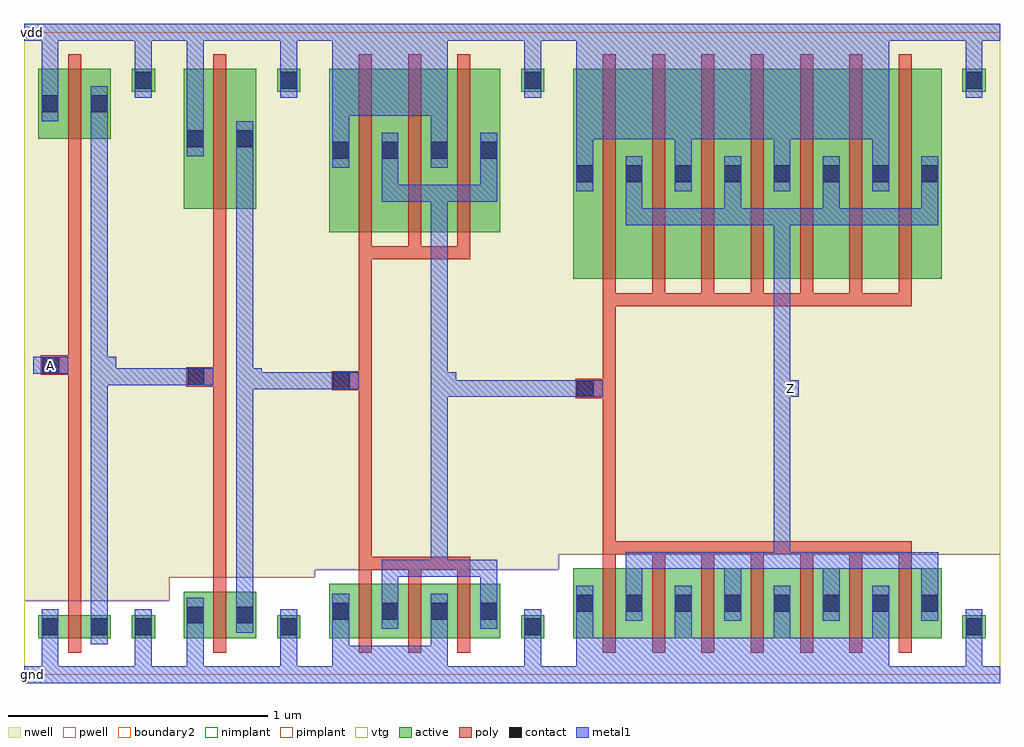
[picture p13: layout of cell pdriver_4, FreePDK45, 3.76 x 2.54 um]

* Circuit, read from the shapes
.subckt pdriver_4 A Z gnd vdd
M1 pinv_7_1/A A gnd gnd nfet w=0.09u l=0.05u
M2 pinv_16_2/A pinv_7_1/A gnd gnd nfet w=0.18u l=0.05u
M3 pinv_17_3/A pinv_16_2/A gnd gnd nfet w=0.21u l=0.05u m=3
M4 Z pinv_17_3/A gnd gnd nfet w=0.27u l=0.05u m=7
M5 pinv_7_1/A A vdd vdd pfet w=0.27u l=0.05u
M6 pinv_16_2/A pinv_7_1/A vdd vdd pfet w=0.54u l=0.05u
M7 pinv_17_3/A pinv_16_2/A vdd vdd pfet w=0.63u l=0.05u m=3
M8 Z pinv_17_3/A vdd vdd pfet w=0.81u l=0.05u m=7
.ends

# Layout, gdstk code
import gdstk
lib = gdstk.Library(unit=1e-6, precision=5e-10)
def R(c, l, rs):  # rectangles x0, y0, x1, y1
    for r in rs: c.add(gdstk.rectangle(r[:2], r[2:], *l))
def A(c, l, x, y, w, h, nx, ny, dx, dy):  # array of equal rectangles
    R(c, l, [(x+i*dx, y+j*dy, x+i*dx+w, y+j*dy+h) for i in range(nx) for j in range(ny)])
active = (1, 0)
pwell = (2, 0)
nwell = (3, 0)
nimplant = (4, 0)
pimplant = (5, 0)
vtg = (6, 0)
poly = (9, 0)
contact = (10, 0)
metal1 = (11, 0)
boundary2 = (239, 0)

contact_9 = lib.new_cell('contact_9')
R(contact_9, active, [(0,0.0225,0.09,0.1125)])
R(contact_9, nwell, [(-0.055,-0.0325,0.145,0.1675)])
R(contact_9, pimplant, [(0,0.0225,0.09,0.1125)])
R(contact_9, contact, [(0.0125,0.035,0.0775,0.1)])
R(contact_9, metal1, [(0.0125,0,0.0775,0.135)])

pmos_m1_w0_270_a_p = lib.new_cell('pmos_m1_w0_270_a_p')
R(pmos_m1_w0_270_a_p, active, [(0,0,0.28,0.27)])
R(pmos_m1_w0_270_a_p, nwell, [(-0.055,-0.055,0.335,0.325)])
R(pmos_m1_w0_270_a_p, pimplant, [(0,0,0.28,0.27)])
R(pmos_m1_w0_270_a_p, vtg, [(-0.055,-0.055,0.335,0.325)])
R(pmos_m1_w0_270_a_p, poly, [(0.115,-0.055,0.165,0.325), (0.115,-0.055,0.165,0.325)])
R(pmos_m1_w0_270_a_p, metal1, [(0.0125,0.0675,0.0775,0.2025), (0.2025,0.0675,0.2675,0.2025)])
pmos_m1_w0_270_a_p.add(gdstk.Reference(contact_9, (0,0.0675)))
pmos_m1_w0_270_a_p.add(gdstk.Reference(contact_9, (0.19,0.0675)))
pmos_m1_w0_270_a_p.add(gdstk.Label('G', (0.14,0.135), layer=9, texttype=0))
pmos_m1_w0_270_a_p.add(gdstk.Label('S', (0.045,0.135), layer=11, texttype=0))
pmos_m1_w0_270_a_p.add(gdstk.Label('D', (0.235,0.135), layer=11, texttype=0))

contact_14 = lib.new_cell('contact_14')
R(contact_14, active, [(0,0.0225,0.09,0.1125)])
R(contact_14, pwell, [(-0.055,-0.0325,0.145,0.1675)])
R(contact_14, nimplant, [(0,0.0225,0.09,0.1125)])
R(contact_14, contact, [(0.0125,0.035,0.0775,0.1)])
R(contact_14, metal1, [(0.0125,0,0.0775,0.135)])

nmos_m1_w0_090_a_p = lib.new_cell('nmos_m1_w0_090_a_p')
R(nmos_m1_w0_090_a_p, active, [(0,0,0.28,0.09)])
R(nmos_m1_w0_090_a_p, pwell, [(-0.055,-0.055,0.335,0.145)])
R(nmos_m1_w0_090_a_p, nimplant, [(0,0,0.28,0.09)])
R(nmos_m1_w0_090_a_p, vtg, [(-0.055,-0.055,0.335,0.145)])
R(nmos_m1_w0_090_a_p, poly, [(0.115,-0.055,0.165,0.145), (0.115,-0.055,0.165,0.145)])
R(nmos_m1_w0_090_a_p, metal1, [(0.0125,-0.0225,0.0775,0.1125), (0.2025,-0.0225,0.2675,0.1125)])
nmos_m1_w0_090_a_p.add(gdstk.Reference(contact_14, (0,-0.0225)))
nmos_m1_w0_090_a_p.add(gdstk.Reference(contact_14, (0.19,-0.0225)))
nmos_m1_w0_090_a_p.add(gdstk.Label('G', (0.14,0.045), layer=9, texttype=0))
nmos_m1_w0_090_a_p.add(gdstk.Label('S', (0.045,0.045), layer=11, texttype=0))
nmos_m1_w0_090_a_p.add(gdstk.Label('D', (0.235,0.045), layer=11, texttype=0))

contact_18 = lib.new_cell('contact_18')
R(contact_18, active, [(0,0.0225,0.09,0.1125)])
R(contact_18, nwell, [(-0.055,-0.0325,0.145,0.1675)])
R(contact_18, nimplant, [(0,0.0225,0.09,0.1125)])
R(contact_18, contact, [(0.0125,0.035,0.0775,0.1)])
R(contact_18, metal1, [(0.0125,0,0.0775,0.135)])

contact_19 = lib.new_cell('contact_19')
R(contact_19, active, [(0,0.0225,0.09,0.1125)])
R(contact_19, pwell, [(-0.055,-0.0325,0.145,0.1675)])
R(contact_19, pimplant, [(0,0.0225,0.09,0.1125)])
R(contact_19, contact, [(0.0125,0.035,0.0775,0.1)])
R(contact_19, metal1, [(0.0125,0,0.0775,0.135)])

contact_10 = lib.new_cell('contact_10')
R(contact_10, poly, [(0.03,0,0.105,0.075)])
R(contact_10, contact, [(0.035,0.005,0.1,0.07)])
R(contact_10, metal1, [(0,0.005,0.135,0.07)])

pinv_9 = lib.new_cell('pinv_9')
R(pinv_9, pwell, [(0,-0.0325,0.56,0.285)])
R(pinv_9, nwell, [(0,0.285,0.56,2.5075)])
R(pinv_9, vtg, [(0,-0.0325,0.56,0.285), (0,0.285,0.56,2.5075)])
R(pinv_9, poly, [(0.17,0.085,0.22,2.01), (0.1025,1.155,0.17,1.23)])
R(pinv_9, metal1, [(0,-0.0325,0.56,0.0325), (0.0675,-0.0325,0.1325,0.1175), (0.4275,0,0.4925,0.185), (0.2575,0.1175,0.3225,2.2675), (0.035,1.16,0.17,1.225), (0.29,1.16,0.355,1.225), (0.0675,2.1325,0.1325,2.5075), (0.4275,2.29,0.4925,2.475), (0,2.4425,0.56,2.5075)])
R(pinv_9, boundary2, [(0,0,0.56,2.475)])
pinv_9.add(gdstk.Reference(pmos_m1_w0_270_a_p, (0.055,2.065)))
pinv_9.add(gdstk.Reference(nmos_m1_w0_090_a_p, (0.055,0.14)))
pinv_9.add(gdstk.Reference(contact_18, (0.415,2.2225)))
pinv_9.add(gdstk.Reference(contact_19, (0.415,0.1175)))
pinv_9.add(gdstk.Reference(contact_10, (0.035,1.155)))
pinv_9.add(gdstk.Label('gnd', (0.28,0), layer=11, texttype=0))
pinv_9.add(gdstk.Label('vdd', (0.28,2.475), layer=11, texttype=0))
pinv_9.add(gdstk.Label('A', (0.1025,1.1925), layer=11, texttype=0))
pinv_9.add(gdstk.Label('Z', (0.3225,1.1925), layer=11, texttype=0))

pmos_m1_w0_540_a_p = lib.new_cell('pmos_m1_w0_540_a_p')
R(pmos_m1_w0_540_a_p, active, [(0,0,0.28,0.54)])
R(pmos_m1_w0_540_a_p, nwell, [(-0.055,-0.055,0.335,0.595)])
R(pmos_m1_w0_540_a_p, pimplant, [(0,0,0.28,0.54)])
R(pmos_m1_w0_540_a_p, vtg, [(-0.055,-0.055,0.335,0.595)])
R(pmos_m1_w0_540_a_p, poly, [(0.115,-0.055,0.165,0.595), (0.115,-0.055,0.165,0.595)])
R(pmos_m1_w0_540_a_p, metal1, [(0.0125,0.2025,0.0775,0.3375), (0.2025,0.2025,0.2675,0.3375)])
pmos_m1_w0_540_a_p.add(gdstk.Reference(contact_9, (0,0.2025)))
pmos_m1_w0_540_a_p.add(gdstk.Reference(contact_9, (0.19,0.2025)))
pmos_m1_w0_540_a_p.add(gdstk.Label('G', (0.14,0.27), layer=9, texttype=0))
pmos_m1_w0_540_a_p.add(gdstk.Label('S', (0.045,0.27), layer=11, texttype=0))
pmos_m1_w0_540_a_p.add(gdstk.Label('D', (0.235,0.27), layer=11, texttype=0))

nmos_m1_w0_180_a_p = lib.new_cell('nmos_m1_w0_180_a_p')
R(nmos_m1_w0_180_a_p, active, [(0,0,0.28,0.18)])
R(nmos_m1_w0_180_a_p, pwell, [(-0.055,-0.055,0.335,0.235)])
R(nmos_m1_w0_180_a_p, nimplant, [(0,0,0.28,0.18)])
R(nmos_m1_w0_180_a_p, vtg, [(-0.055,-0.055,0.335,0.235)])
R(nmos_m1_w0_180_a_p, poly, [(0.115,-0.055,0.165,0.235), (0.115,-0.055,0.165,0.235)])
R(nmos_m1_w0_180_a_p, metal1, [(0.0125,0.0225,0.0775,0.1575), (0.2025,0.0225,0.2675,0.1575)])
nmos_m1_w0_180_a_p.add(gdstk.Reference(contact_14, (0,0.0225)))
nmos_m1_w0_180_a_p.add(gdstk.Reference(contact_14, (0.19,0.0225)))
nmos_m1_w0_180_a_p.add(gdstk.Label('G', (0.14,0.09), layer=9, texttype=0))
nmos_m1_w0_180_a_p.add(gdstk.Label('S', (0.045,0.09), layer=11, texttype=0))
nmos_m1_w0_180_a_p.add(gdstk.Label('D', (0.235,0.09), layer=11, texttype=0))

pinv_7 = lib.new_cell('pinv_7')
R(pinv_7, pwell, [(0,-0.0325,0.56,0.375)])
R(pinv_7, nwell, [(0,0.375,0.56,2.5075)])
R(pinv_7, vtg, [(0,-0.0325,0.56,0.375), (0,0.375,0.56,2.5075)])
R(pinv_7, poly, [(0.17,0.085,0.22,1.74), (0.1025,1.11,0.17,1.185)])
R(pinv_7, metal1, [(0,-0.0325,0.56,0.0325), (0.0675,-0.0325,0.1325,0.1625), (0.4275,0,0.4925,0.185), (0.2575,0.1625,0.3225,2.1325), (0.035,1.115,0.17,1.18), (0.29,1.115,0.355,1.18), (0.0675,1.9975,0.1325,2.5075), (0.4275,2.29,0.4925,2.475), (0,2.4425,0.56,2.5075)])
R(pinv_7, boundary2, [(0,0,0.56,2.475)])
pinv_7.add(gdstk.Reference(pmos_m1_w0_540_a_p, (0.055,1.795)))
pinv_7.add(gdstk.Reference(nmos_m1_w0_180_a_p, (0.055,0.14)))
pinv_7.add(gdstk.Reference(contact_18, (0.415,2.2225)))
pinv_7.add(gdstk.Reference(contact_19, (0.415,0.1175)))
pinv_7.add(gdstk.Reference(contact_10, (0.035,1.11)))
pinv_7.add(gdstk.Label('gnd', (0.28,0), layer=11, texttype=0))
pinv_7.add(gdstk.Label('vdd', (0.28,2.475), layer=11, texttype=0))
pinv_7.add(gdstk.Label('A', (0.1025,1.1475), layer=11, texttype=0))
pinv_7.add(gdstk.Label('Z', (0.3225,1.1475), layer=11, texttype=0))

pmos_m3_w0_630_a_p = lib.new_cell('pmos_m3_w0_630_a_p')
R(pmos_m3_w0_630_a_p, active, [(0,0,0.66,0.63)])
R(pmos_m3_w0_630_a_p, nwell, [(-0.055,-0.055,0.715,0.685)])
R(pmos_m3_w0_630_a_p, pimplant, [(0,0,0.66,0.63)])
R(pmos_m3_w0_630_a_p, vtg, [(-0.055,-0.055,0.715,0.685)])
A(pmos_m3_w0_630_a_p, poly, 0.115, -0.055, 0.05, 0.74, 3, 1, 0.19, 0)
R(pmos_m3_w0_630_a_p, poly, [(0.115,-0.105,0.545,-0.055)])
R(pmos_m3_w0_630_a_p, metal1, [(0.2025,0.1175,0.6475,0.1825), (0.2025,0.15,0.2675,0.315), (0.5825,0.15,0.6475,0.315), (0.0125,0.315,0.0775,0.48), (0.3925,0.315,0.4575,0.48), (0.0125,0.4475,0.4575,0.5125)])
pmos_m3_w0_630_a_p.add(gdstk.Reference(contact_9, (0,0.2475)))
pmos_m3_w0_630_a_p.add(gdstk.Reference(contact_9, (0.38,0.2475)))
pmos_m3_w0_630_a_p.add(gdstk.Reference(contact_9, (0.19,0.2475)))
pmos_m3_w0_630_a_p.add(gdstk.Reference(contact_9, (0.57,0.2475)))
pmos_m3_w0_630_a_p.add(gdstk.Label('G', (0.33,-0.08), layer=9, texttype=0))
pmos_m3_w0_630_a_p.add(gdstk.Label('S', (0.235,0.48), layer=11, texttype=0))
pmos_m3_w0_630_a_p.add(gdstk.Label('D', (0.425,0.15), layer=11, texttype=0))

nmos_m3_w0_210_a_p = lib.new_cell('nmos_m3_w0_210_a_p')
R(nmos_m3_w0_210_a_p, active, [(0,0,0.66,0.21)])
R(nmos_m3_w0_210_a_p, pwell, [(-0.055,-0.055,0.715,0.265)])
R(nmos_m3_w0_210_a_p, nimplant, [(0,0,0.66,0.21)])
R(nmos_m3_w0_210_a_p, vtg, [(-0.055,-0.055,0.715,0.265)])
A(nmos_m3_w0_210_a_p, poly, 0.115, -0.055, 0.05, 0.32, 3, 1, 0.19, 0)
R(nmos_m3_w0_210_a_p, poly, [(0.115,0.265,0.545,0.315)])
R(nmos_m3_w0_210_a_p, metal1, [(0.0125,-0.0925,0.4575,-0.0275), (0.0125,-0.06,0.0775,0.105), (0.3925,-0.06,0.4575,0.105), (0.2025,0.105,0.2675,0.27), (0.5825,0.105,0.6475,0.27), (0.2025,0.2375,0.6475,0.3025)])
nmos_m3_w0_210_a_p.add(gdstk.Reference(contact_14, (0,0.0375)))
nmos_m3_w0_210_a_p.add(gdstk.Reference(contact_14, (0.38,0.0375)))
nmos_m3_w0_210_a_p.add(gdstk.Reference(contact_14, (0.19,0.0375)))
nmos_m3_w0_210_a_p.add(gdstk.Reference(contact_14, (0.57,0.0375)))
nmos_m3_w0_210_a_p.add(gdstk.Label('G', (0.33,0.29), layer=9, texttype=0))
nmos_m3_w0_210_a_p.add(gdstk.Label('S', (0.235,-0.06), layer=11, texttype=0))
nmos_m3_w0_210_a_p.add(gdstk.Label('D', (0.425,0.27), layer=11, texttype=0))

pinv_16 = lib.new_cell('pinv_16')
R(pinv_16, pwell, [(0,-0.0325,0.94,0.405)])
R(pinv_16, nwell, [(0,0.405,0.94,2.5075)])
R(pinv_16, vtg, [(0,-0.0325,0.94,0.405), (0,0.405,0.94,2.5075)])
R(pinv_16, poly, [(0.17,0.405,0.22,1.6), (0.1025,1.095,0.17,1.17)])
R(pinv_16, metal1, [(0,-0.0325,0.94,0.0325), (0.0675,-0.0325,0.5125,0.0475), (0.8075,0,0.8725,0.185), (0.4475,0.3775,0.5125,1.8875), (0.035,1.1,0.17,1.165), (0.48,1.1,0.545,1.165), (0.0675,2.1525,0.5125,2.5075), (0.8075,2.29,0.8725,2.475), (0,2.4425,0.94,2.5075)])
R(pinv_16, boundary2, [(0,0,0.94,2.475)])
pinv_16.add(gdstk.Reference(pmos_m3_w0_630_a_p, (0.055,1.705)))
pinv_16.add(gdstk.Reference(nmos_m3_w0_210_a_p, (0.055,0.14)))
pinv_16.add(gdstk.Reference(contact_18, (0.795,2.2225)))
pinv_16.add(gdstk.Reference(contact_19, (0.795,0.1175)))
pinv_16.add(gdstk.Reference(contact_10, (0.035,1.095)))
pinv_16.add(gdstk.Label('gnd', (0.47,0), layer=11, texttype=0))
pinv_16.add(gdstk.Label('vdd', (0.47,2.475), layer=11, texttype=0))
pinv_16.add(gdstk.Label('A', (0.1025,1.1325), layer=11, texttype=0))
pinv_16.add(gdstk.Label('Z', (0.5125,1.1325), layer=11, texttype=0))

pmos_m7_w0_810_a_p = lib.new_cell('pmos_m7_w0_810_a_p')
R(pmos_m7_w0_810_a_p, active, [(0,0,1.42,0.81)])
R(pmos_m7_w0_810_a_p, nwell, [(-0.055,-0.055,1.475,0.865)])
R(pmos_m7_w0_810_a_p, pimplant, [(0,0,1.42,0.81)])
R(pmos_m7_w0_810_a_p, vtg, [(-0.055,-0.055,1.475,0.865)])
A(pmos_m7_w0_810_a_p, poly, 0.115, -0.055, 0.05, 0.92, 7, 1, 0.19, 0)
R(pmos_m7_w0_810_a_p, poly, [(0.115,-0.105,1.305,-0.055)])
A(pmos_m7_w0_810_a_p, metal1, 0.2025, 0.24, 0.065, 0.165, 4, 1, 0.38, 0)
A(pmos_m7_w0_810_a_p, metal1, 0.0125, 0.405, 0.065, 0.165, 4, 1, 0.38, 0)
R(pmos_m7_w0_810_a_p, metal1, [(0.2025,0.2075,1.4075,0.2725), (0.0125,0.5375,1.2175,0.6025)])
pmos_m7_w0_810_a_p.add(gdstk.Reference(contact_9, (0,0.3375)))
pmos_m7_w0_810_a_p.add(gdstk.Reference(contact_9, (0.38,0.3375)))
pmos_m7_w0_810_a_p.add(gdstk.Reference(contact_9, (0.76,0.3375)))
pmos_m7_w0_810_a_p.add(gdstk.Reference(contact_9, (1.14,0.3375)))
pmos_m7_w0_810_a_p.add(gdstk.Reference(contact_9, (0.19,0.3375)))
pmos_m7_w0_810_a_p.add(gdstk.Reference(contact_9, (0.57,0.3375)))
pmos_m7_w0_810_a_p.add(gdstk.Reference(contact_9, (0.95,0.3375)))
pmos_m7_w0_810_a_p.add(gdstk.Reference(contact_9, (1.33,0.3375)))
pmos_m7_w0_810_a_p.add(gdstk.Label('G', (0.71,-0.08), layer=9, texttype=0))
pmos_m7_w0_810_a_p.add(gdstk.Label('S', (0.615,0.57), layer=11, texttype=0))
pmos_m7_w0_810_a_p.add(gdstk.Label('D', (0.805,0.24), layer=11, texttype=0))

nmos_m7_w0_270_a_p = lib.new_cell('nmos_m7_w0_270_a_p')
R(nmos_m7_w0_270_a_p, active, [(0,0,1.42,0.27)])
R(nmos_m7_w0_270_a_p, pwell, [(-0.055,-0.055,1.475,0.325)])
R(nmos_m7_w0_270_a_p, nimplant, [(0,0,1.42,0.27)])
R(nmos_m7_w0_270_a_p, vtg, [(-0.055,-0.055,1.475,0.325)])
A(nmos_m7_w0_270_a_p, poly, 0.115, -0.055, 0.05, 0.38, 7, 1, 0.19, 0)
R(nmos_m7_w0_270_a_p, poly, [(0.115,0.325,1.305,0.375)])
A(nmos_m7_w0_270_a_p, metal1, 0.0125, -0.03, 0.065, 0.165, 4, 1, 0.38, 0)
A(nmos_m7_w0_270_a_p, metal1, 0.2025, 0.135, 0.065, 0.165, 4, 1, 0.38, 0)
R(nmos_m7_w0_270_a_p, metal1, [(0.0125,-0.0625,1.2175,0.0025), (0.2025,0.2675,1.4075,0.3325)])
nmos_m7_w0_270_a_p.add(gdstk.Reference(contact_14, (0,0.0675)))
nmos_m7_w0_270_a_p.add(gdstk.Reference(contact_14, (0.38,0.0675)))
nmos_m7_w0_270_a_p.add(gdstk.Reference(contact_14, (0.76,0.0675)))
nmos_m7_w0_270_a_p.add(gdstk.Reference(contact_14, (1.14,0.0675)))
nmos_m7_w0_270_a_p.add(gdstk.Reference(contact_14, (0.19,0.0675)))
nmos_m7_w0_270_a_p.add(gdstk.Reference(contact_14, (0.57,0.0675)))
nmos_m7_w0_270_a_p.add(gdstk.Reference(contact_14, (0.95,0.0675)))
nmos_m7_w0_270_a_p.add(gdstk.Reference(contact_14, (1.33,0.0675)))
nmos_m7_w0_270_a_p.add(gdstk.Label('G', (0.71,0.35), layer=9, texttype=0))
nmos_m7_w0_270_a_p.add(gdstk.Label('S', (0.615,-0.03), layer=11, texttype=0))
nmos_m7_w0_270_a_p.add(gdstk.Label('D', (0.805,0.3), layer=11, texttype=0))

pinv_17 = lib.new_cell('pinv_17')
R(pinv_17, pwell, [(0,-0.0325,1.7,0.465)])
R(pinv_17, nwell, [(0,0.465,1.7,2.5075)])
R(pinv_17, vtg, [(0,-0.0325,1.7,0.465), (0,0.465,1.7,2.5075)])
R(pinv_17, poly, [(0.17,0.465,0.22,1.42), (0.1025,1.065,0.17,1.14)])
R(pinv_17, metal1, [(0,-0.0325,1.7,0.0325), (0.0675,-0.0325,1.2725,0.0775), (1.5675,0,1.6325,0.185), (0.8275,0.4075,0.8925,1.7975), (0.035,1.07,0.17,1.135), (0.86,1.07,0.925,1.135), (0.0675,2.0625,1.2725,2.5075), (1.5675,2.29,1.6325,2.475), (0,2.4425,1.7,2.5075)])
R(pinv_17, boundary2, [(0,0,1.7,2.475)])
pinv_17.add(gdstk.Reference(pmos_m7_w0_810_a_p, (0.055,1.525)))
pinv_17.add(gdstk.Reference(nmos_m7_w0_270_a_p, (0.055,0.14)))
pinv_17.add(gdstk.Reference(contact_18, (1.555,2.2225)))
pinv_17.add(gdstk.Reference(contact_19, (1.555,0.1175)))
pinv_17.add(gdstk.Reference(contact_10, (0.035,1.065)))
pinv_17.add(gdstk.Label('gnd', (0.85,0), layer=11, texttype=0))
pinv_17.add(gdstk.Label('vdd', (0.85,2.475), layer=11, texttype=0))
pinv_17.add(gdstk.Label('A', (0.1025,1.1025), layer=11, texttype=0))
pinv_17.add(gdstk.Label('Z', (0.8925,1.1025), layer=11, texttype=0))

pdriver_4 = lib.new_cell('pdriver_4')
R(pdriver_4, metal1, [(0,-0.0325,0.065,0.0325), (1.6,1.07,1.665,1.135), (1.6325,1.07,2.1625,1.135), (2.92,1.07,2.985,1.135), (0.85,1.1,0.915,1.165), (0.8825,1.1,1.2225,1.165), (1.6,1.1025,1.665,1.1325), (0.29,1.115,0.355,1.18), (0.3225,1.115,0.6625,1.18), (0.85,1.1325,0.915,1.1475), (0.29,1.1475,0.355,1.1925), (0.035,1.16,0.17,1.225), (0,2.4425,0.065,2.5075)])
R(pdriver_4, boundary2, [(0,0,3.76,2.475)])
pdriver_4.add(gdstk.Reference(pinv_9, (0,0)))
pdriver_4.add(gdstk.Reference(pinv_7, (0.56,0)))
pdriver_4.add(gdstk.Reference(pinv_16, (1.12,0)))
pdriver_4.add(gdstk.Reference(pinv_17, (2.06,0)))
pdriver_4.add(gdstk.Label('vdd', (0.0325,2.475), layer=11, texttype=0))
pdriver_4.add(gdstk.Label('gnd', (0.0325,0), layer=11, texttype=0))
pdriver_4.add(gdstk.Label('Z', (2.9525,1.1025), layer=11, texttype=0))
pdriver_4.add(gdstk.Label('A', (0.1025,1.1925), layer=11, texttype=0))

lib.write_gds('pdriver_4.gds')
